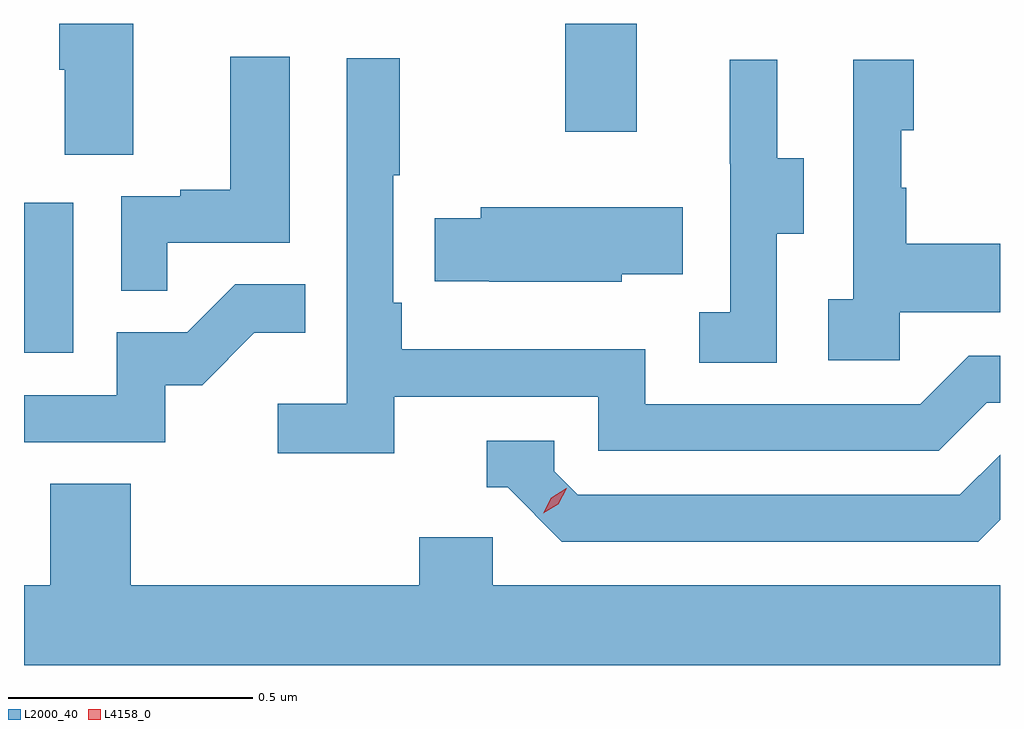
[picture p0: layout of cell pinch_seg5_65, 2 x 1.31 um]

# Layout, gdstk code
import gdstk
lib = gdstk.Library(unit=1e-6, precision=1e-09)
def R(c, l, rs):  # rectangles x0, y0, x1, y1
    for r in rs: c.add(gdstk.rectangle(r[:2], r[2:], *l))
def P(c, l, *ps):  # polygons
    for p in ps: c.add(gdstk.Polygon(p, *l))
L2000_40 = (2000, 40)
L4158_0 = (4158, 0)

pinch_seg5_65 = lib.new_cell('pinch_seg5_65')
R(pinch_seg5_65, L2000_40, [(1059.377,896.028,1059.478,896.335), (1060.486,896.481,1060.633,896.702)])
P(pinch_seg5_65, L2000_40, [(1059.601,896.702),(1059.449,896.702),(1059.449,896.608),(1059.461,896.608),(1059.461,896.434),(1059.601,896.434)],
  [(1059.671,896.253),(1059.922,896.253),(1059.922,896.635),(1059.8,896.635),(1059.8,896.362),(1059.697,896.362),(1059.697,896.349),(1059.576,896.349),(1059.576,896.155),(1059.671,896.155)],
  [(1060.136,895.938),(1060.554,895.938),(1060.554,895.827),(1061.251,895.827),(1061.35,895.926),(1061.377,895.926),(1061.377,896.022),(1061.313,896.022),(1061.214,895.923),(1060.65,895.923),(1060.65,896.035),(1060.151,896.035),(1060.151,896.131),(1060.134,896.131),(1060.134,896.392),(1060.147,896.392),(1060.147,896.632),(1060.038,896.632),(1060.038,895.924),(1059.897,895.924),(1059.897,895.822),(1060.136,895.822)],
  [(1061.172,896.111),(1061.377,896.111),(1061.377,896.251),(1061.185,896.251),(1061.185,896.366),(1061.175,896.366),(1061.175,896.484),(1061.2,896.484),(1061.2,896.629),(1061.076,896.629),(1061.076,896.138),(1061.025,896.138),(1061.025,896.013),(1061.172,896.013)],
  [(1060.92,896.272),(1060.975,896.272),(1060.975,896.427),(1060.921,896.427),(1060.921,896.629),(1060.823,896.629),(1060.823,896.415),(1060.824,896.415),(1060.824,896.111),(1060.761,896.111),(1060.761,896.008),(1060.92,896.008)],
  [(1060.602,896.189),(1060.727,896.189),(1060.727,896.326),(1060.313,896.326),(1060.313,896.304),(1060.219,896.304),(1060.219,896.175),(1060.33,896.175),(1060.33,896.174),(1060.602,896.174)],
  [(1059.666,895.962),(1059.742,895.962),(1059.849,896.069),(1059.953,896.069),(1059.953,896.168),(1059.81,896.168),(1059.712,896.07),(1059.567,896.07),(1059.567,895.941),(1059.377,895.941),(1059.377,895.845),(1059.666,895.845)],
  [(1061.377,895.686),(1061.377,895.819),(1061.295,895.737),(1060.512,895.737),(1060.464,895.785),(1060.464,895.848),(1060.325,895.848),(1060.325,895.752),(1060.368,895.752),(1060.479,895.641),(1061.332,895.641)],
  [(1061.377,895.552),(1060.338,895.552),(1060.338,895.65),(1060.187,895.65),(1060.187,895.552),(1059.596,895.552),(1059.596,895.76),(1059.431,895.76),(1059.431,895.552),(1059.377,895.552),(1059.377,895.388),(1061.377,895.388)])
P(pinch_seg5_65, L4158_0, [(1060.441,895.699),(1060.441,895.699),(1060.457,895.731),(1060.488,895.75),(1060.489,895.75),(1060.489,895.75),(1060.472,895.718),(1060.441,895.699)])

lib.write_gds('pinch_seg5_65.gds')
